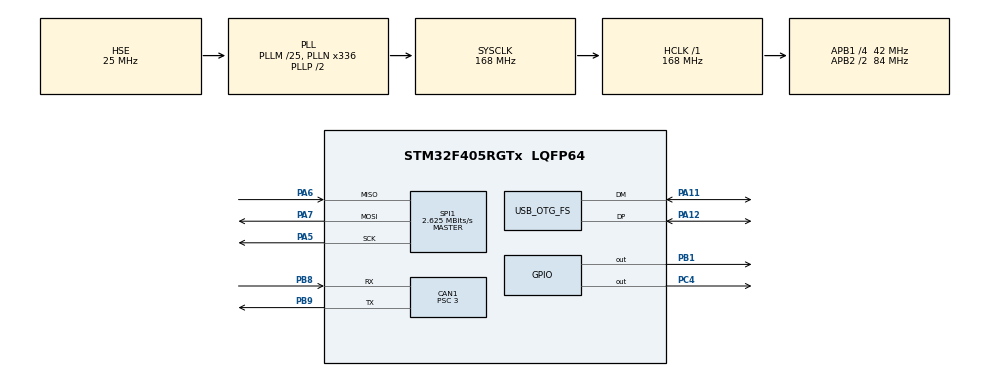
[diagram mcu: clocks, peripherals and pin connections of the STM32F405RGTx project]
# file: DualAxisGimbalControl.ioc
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CAN1.BS1=CAN_BS1_9TQ
CAN1.BS2=CAN_BS2_4TQ
CAN1.CalculateBaudRate=1000000
CAN1.CalculateTimeBit=1000
CAN1.CalculateTimeQuantum=71.42857142857143
CAN1.Prescaler=3
FREERTOS.Tasks01=Task_Gyro,40,256,StartTask_Gyro,Default,NULL,Dynamic,NULL,NULL;Task_Control,32,256,StartTask_Control,Default,NULL,Dynamic,NULL,NULL;Task_USB_Receiv,24,256,StartTask_USB_Receive,Default,NULL,Dynamic,NULL,NULL;Task_Search,8,256,StartTask_Search,Default,NULL,Dynamic,NULL,NULL
Mcu.Family=STM32F4
Mcu.Name=STM32F405RGTx
Mcu.Package=LQFP64
NVIC.CAN1_RX0_IRQn=true\:5\:0\:false\:false\:true\:true\:true\:true\:true
NVIC.OTG_FS_IRQn=true\:5\:0\:false\:false\:true\:true\:false\:true\:true
NVIC.PriorityGroup=NVIC_PRIORITYGROUP_4
NVIC.TIM2_IRQn=true\:5\:0\:false\:false\:true\:true\:true\:true\:true
PA11.Mode=Device_Only
PA11.Signal=USB_OTG_FS_DM
PA12.Mode=Device_Only
PA12.Signal=USB_OTG_FS_DP
PA13.Mode=Serial_Wire
PA13.Signal=SYS_JTMS-SWDIO
PA14.Mode=Serial_Wire
PA14.Signal=SYS_JTCK-SWCLK
PA5.Mode=Full_Duplex_Master
PA5.Signal=SPI1_SCK
PA6.Mode=Full_Duplex_Master
PA6.Signal=SPI1_MISO
PA7.Mode=Full_Duplex_Master
PA7.Signal=SPI1_MOSI
PB1.Signal=GPIO_Output
PB8.Mode=CAN_Activate
PB8.Signal=CAN1_RX
PB9.Mode=CAN_Activate
PB9.Signal=CAN1_TX
PC4.Signal=GPIO_Output
PH0-OSC_IN.Mode=HSE-External-Oscillator
PH0-OSC_IN.Signal=RCC_OSC_IN
PH1-OSC_OUT.Mode=HSE-External-Oscillator
PH1-OSC_OUT.Signal=RCC_OSC_OUT
ProjectManager.HeapSize=0x200
ProjectManager.StackSize=0x400
ProjectManager.TargetToolchain=CMake
RCC.48MHZClocksFreq_Value=48000000
RCC.AHBFreq_Value=168000000
RCC.APB1CLKDivider=RCC_HCLK_DIV4
RCC.APB1Freq_Value=42000000
RCC.APB1TimFreq_Value=84000000
RCC.APB2CLKDivider=RCC_HCLK_DIV2
RCC.APB2Freq_Value=84000000
RCC.APB2TimFreq_Value=168000000
RCC.CortexFreq_Value=168000000
RCC.HCLKFreq_Value=168000000
RCC.HSE_VALUE=25000000
RCC.HSI_VALUE=16000000
RCC.LSE_VALUE=32768
RCC.PLLM=25
RCC.PLLN=336
RCC.PLLQ=7
RCC.SYSCLKFreq_VALUE=168000000
RCC.SYSCLKSource=RCC_SYSCLKSOURCE_PLLCLK
RCC.VCOOutputFreq_Value=336000000
SPI1.BaudRatePrescaler=SPI_BAUDRATEPRESCALER_32
SPI1.CalculateBaudRate=2.625 MBits/s
SPI1.Direction=SPI_DIRECTION_2LINES
SPI1.Mode=SPI_MODE_MASTER
SPI1.VirtualType=VM_MASTER
TIM2.Prescaler=168-1
USB_DEVICE.CLASS_NAME_FS=CDC
USB_DEVICE.VirtualMode-CDC_FS=Cdc
USB_DEVICE.VirtualModeFS=Cdc_FS
USB_OTG_FS.VirtualMode=Device_Only
VP_FREERTOS_VS_CMSIS_V2.Mode=CMSIS_V2
VP_TIM2_VS_ClockSourceINT.Mode=Internal
VP_USB_DEVICE_VS_USB_DEVICE_CDC_FS.Mode=CDC_FS
board=custom

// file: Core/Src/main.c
/* USER CODE BEGIN Header */
/**
  ******************************************************************************
  * @file           : main.c
  * @brief          : Main program body
  ******************************************************************************
  * @attention
  *
  * Copyright (c) 2026 STMicroelectronics.
  * All rights reserved.
  *
  * This software is licensed under terms that can be found in the LICENSE file
  * in the root directory of this software component.
  * If no LICENSE file comes with this software, it is provided AS-IS.
  *
  ******************************************************************************
  */
/* USER CODE END Header */
#include "main.h"
#include "cmsis_os.h"
#include "can.h"
#include "spi.h"
#include "tim.h"
#include "usb_device.h"
#include "gpio.h"

/* USER CODE BEGIN Includes */
#include "bmi088.h"
#include "gm6020.h"
#include "pid.h"
#include "gimbal_ctrl.h"
#include "protocol.h"
/* USER CODE END Includes */

/* USER CODE BEGIN PV */
/* 全局变量定义 */
gimbal_mode_t gimbal_mode = GIMBAL_MODE_SEARCH;  // 默认搜索模式
vision_target_t vision_target = {0};
imu_data_t imu_data = {0};
motor_feedback_t yaw_feedback = {0};
motor_feedback_t pitch_feedback = {0};
uint8_t usb_tx_result = 10;

/* 任务间通信句柄 */
osSemaphoreId_t imu_semaphore;
osSemaphoreId_t control_semaphore;
osSemaphoreId_t usb_semaphore;
osMessageQueueId_t usb_queue;

/* USB接收缓冲区 */
uint8_t usb_rx_buffer[64];

/* 控制对象 */
gimbal_ctrl_t gimbal_ctrl;
/* USER CODE END PV */

void SystemClock_Config(void);
void MX_FREERTOS_Init(void);
/* USER CODE BEGIN PFP */
/* 任务函数声明 */
void Task_Gyro(void *argument);
void Task_Control(void *argument);
void Task_USB_Receive(void *argument);
void Task_Search(void *argument);

/* 外部函数声明 */
void USB_Data_Received(uint8_t* buf, uint32_t len);
/* USER CODE END PV */

/* Private function prototypes -----------------------------------------------*/
void SystemClock_Config(void);
void MX_FREERTOS_Init(void);
/* USER CODE BEGIN PFP */

/* USER CODE END PFP */

int main(void)
{

  /* MCU Configuration--------------------------------------------------------*/

  /* Reset of all peripherals, Initializes the Flash interface and the Systick. */
  HAL_Init();

  /* Configure the system clock */
  SystemClock_Config();

  /* Initialize all configured peripherals */
  MX_GPIO_Init();
  MX_CAN1_Init();
  MX_SPI1_Init();
  MX_TIM2_Init();
  /* USER CODE BEGIN 2 */
  HAL_TIM_Base_Start_IT(&htim2);
  /* init code for USB_DEVICE */
  MX_USB_DEVICE_Init();
  BMI088_Init();
  GM6020_Init();
  Gimbal_Init(&gimbal_ctrl);
  /* 创建任务间通信对象 */
  imu_semaphore = osSemaphoreNew(1, 0, NULL);
  control_semaphore = osSemaphoreNew(1, 0, NULL);
  usb_semaphore = osSemaphoreNew(1, 0, NULL);
  usb_queue = osMessageQueueNew(10, sizeof(vision_target_t), NULL);
  /* USER CODE END 2 */

  /* Init scheduler */
  osKernelInitialize();  /* Call init function for freertos objects (in cmsis_os2.c) */
  MX_FREERTOS_Init();

  /* Start scheduler */
  osKernelStart();

  /* We should never get here as control is now taken by the scheduler */

  /* Infinite loop */
  while (1)
  {

  }
}

void SystemClock_Config(void)
{
  RCC_OscInitTypeDef RCC_OscInitStruct = {0};
  RCC_ClkInitTypeDef RCC_ClkInitStruct = {0};

  /** Configure the main internal regulator output voltage
  */
  __HAL_RCC_PWR_CLK_ENABLE();
  __HAL_PWR_VOLTAGESCALING_CONFIG(PWR_REGULATOR_VOLTAGE_SCALE1);

  /** Initializes the RCC Oscillators according to the specified parameters
  * in the RCC_OscInitTypeDef structure.
  */
  RCC_OscInitStruct.OscillatorType = RCC_OSCILLATORTYPE_HSE;
  RCC_OscInitStruct.HSEState = RCC_HSE_ON;
  RCC_OscInitStruct.PLL.PLLState = RCC_PLL_ON;
  RCC_OscInitStruct.PLL.PLLSource = RCC_PLLSOURCE_HSE;
  RCC_OscInitStruct.PLL.PLLM = 25;
  RCC_OscInitStruct.PLL.PLLN = 336;
  RCC_OscInitStruct.PLL.PLLP = RCC_PLLP_DIV2;
  RCC_OscInitStruct.PLL.PLLQ = 7;
  if (HAL_RCC_OscConfig(&RCC_OscInitStruct) != HAL_OK)
  {
    Error_Handler();
  }

  /** Initializes the CPU, AHB and APB buses clocks
  */
  RCC_ClkInitStruct.ClockType = RCC_CLOCKTYPE_HCLK|RCC_CLOCKTYPE_SYSCLK
                              |RCC_CLOCKTYPE_PCLK1|RCC_CLOCKTYPE_PCLK2;
  RCC_ClkInitStruct.SYSCLKSource = RCC_SYSCLKSOURCE_PLLCLK;
  RCC_ClkInitStruct.AHBCLKDivider = RCC_SYSCLK_DIV1;
  RCC_ClkInitStruct.APB1CLKDivider = RCC_HCLK_DIV4;
  RCC_ClkInitStruct.APB2CLKDivider = RCC_HCLK_DIV2;

  if (HAL_RCC_ClockConfig(&RCC_ClkInitStruct, FLASH_LATENCY_5) != HAL_OK)
  {
    Error_Handler();
  }
}

void Error_Handler(void)
{
  __disable_irq();
  while (1)
  {
  }
}

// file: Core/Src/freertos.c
/* USER CODE BEGIN Header */
/**
  ******************************************************************************
  * File Name          : freertos.c
  * Description        : Code for freertos applications
  ******************************************************************************
  * @attention
  *
  * Copyright (c) 2026 STMicroelectronics.
  * All rights reserved.
  *
  * This software is licensed under terms that can be found in the LICENSE file
  * in the root directory of this software component.
  * If no LICENSE file comes with this software, it is provided AS-IS.
  *
  ******************************************************************************
  */
/* USER CODE END Header */

#include "FreeRTOS.h"
#include "task.h"
#include "main.h"
#include "cmsis_os.h"

/* USER CODE BEGIN Includes */
#include "bmi088.h"
#include "gm6020.h"
#include "pid.h"
#include "gimbal_ctrl.h"
#include "protocol.h"
#include "usbd_cdc_if.h"
/* USER CODE END Includes */

/* USER CODE BEGIN Variables */
/* 全局变量声明（来自main.h） */
extern gimbal_mode_t gimbal_mode;
extern vision_target_t vision_target;
extern imu_data_t imu_data;
extern motor_feedback_t yaw_feedback;
extern motor_feedback_t pitch_feedback;
extern uint8_t usb_tx_result;

/* 任务间通信句柄 */
extern osSemaphoreId_t imu_semaphore;
extern osSemaphoreId_t control_semaphore;
extern osSemaphoreId_t usb_semaphore;
extern osMessageQueueId_t usb_queue;

/* USB接收缓冲区 */
extern uint8_t usb_rx_buffer[64];

/* 控制对象 */
extern gimbal_ctrl_t gimbal_ctrl;
/* USER CODE END Variables */
/* Definitions for Task_Gyro */
osThreadId_t Task_GyroHandle;
const osThreadAttr_t Task_Gyro_attributes = {
  .name = "Task_Gyro",
  .stack_size = 256 * 4,
  .priority = (osPriority_t) osPriorityHigh,
};
/* Definitions for Task_Control */
osThreadId_t Task_ControlHandle;
const osThreadAttr_t Task_Control_attributes = {
  .name = "Task_Control",
  .stack_size = 256 * 4,
  .priority = (osPriority_t) osPriorityAboveNormal,
};
/* Definitions for Task_USB_Receiv */
osThreadId_t Task_USB_ReceivHandle;
const osThreadAttr_t Task_USB_Receiv_attributes = {
  .name = "Task_USB_Receiv",
  .stack_size = 256 * 4,
  .priority = (osPriority_t) osPriorityNormal,
};
/* Definitions for Task_Search */
osThreadId_t Task_SearchHandle;
const osThreadAttr_t Task_Search_attributes = {
  .name = "Task_Search",
  .stack_size = 256 * 4,
  .priority = (osPriority_t) osPriorityLow,
};

void StartTask_Gyro(void *argument);
void StartTask_Control(void *argument);
void StartTask_USB_Receive(void *argument);
void StartTask_Search(void *argument);

extern void MX_USB_DEVICE_Init(void);
void MX_FREERTOS_Init(void); /* (MISRA C 2004 rule 8.1) */

void MX_FREERTOS_Init(void) {

  /* Create the thread(s) */
  /* creation of Task_Gyro */
  Task_GyroHandle = osThreadNew(StartTask_Gyro, NULL, &Task_Gyro_attributes);

  /* creation of Task_Control */
  Task_ControlHandle = osThreadNew(StartTask_Control, NULL, &Task_Control_attributes);

  /* creation of Task_USB_Receiv */
  Task_USB_ReceivHandle = osThreadNew(StartTask_USB_Receive, NULL, &Task_USB_Receiv_attributes);

  /* creation of Task_Search */
  Task_SearchHandle = osThreadNew(StartTask_Search, NULL, &Task_Search_attributes);

}

void StartTask_Gyro(void *argument)
{
  /* USER CODE BEGIN StartTask_Gyro */
  TickType_t xLastWakeTime = xTaskGetTickCount();
  /* Infinite loop */
  for(;;)
  {
    /* 1kHz 读取陀螺仪 */
    BMI088_Read(&imu_data);

    /* 通知控制任务数据已更新 */
    osSemaphoreRelease(imu_semaphore);

    /* 精确的1kHz延时 */
    vTaskDelayUntil(&xLastWakeTime, pdMS_TO_TICKS(1));
  }
  /* USER CODE END StartTask_Gyro */
}

void StartTask_Control(void *argument)
{
  /* USER CODE BEGIN StartTask_Control */
  /* Infinite loop */
  for(;;)
  {
     /* 等待1kHz定时器信号 */
    osSemaphoreAcquire(control_semaphore, portMAX_DELAY);

    /* 等待陀螺仪数据（确保数据最新） */
    osSemaphoreAcquire(imu_semaphore, 0);  // 不等待，如果没有就继续

    /* 获取最新反馈 */
    GM6020_GetFeedback(&yaw_feedback, &pitch_feedback);

    /* 根据模式设置目标 */
    switch(gimbal_mode)
    {
      case GIMBAL_MODE_TRACKING:
        Gimbal_SetTarget(&gimbal_ctrl, vision_target.yaw, vision_target.pitch);
        break;

      case GIMBAL_MODE_SEARCH:
        /* 目标由搜索任务更新 */
        break;

      case GIMBAL_MODE_IDLE:
        Gimbal_SetTarget(&gimbal_ctrl, 0, 0);
        break;

      case GIMBAL_MODE_LOST:
        /* 保持当前位置 */
        break;
    }
    /* 执行控制算法：PID计算 + 发送电流指令 */
    Gimbal_Update(&gimbal_ctrl, &imu_data, &yaw_feedback, &pitch_feedback);
  }
  /* USER CODE END StartTask_Control */
}

void StartTask_USB_Receive(void *argument)
{
  /* USER CODE BEGIN StartTask_USB_Receive */
  vision_target_t target;
  static uint32_t last_target_time = 0;
  static uint32_t last_send_time = 0;
  TickType_t xLastWakeTime;

  xLastWakeTime = xTaskGetTickCount();
  /* Infinite loop */
  for(;;)
  {
  //    /* 等待USB数据信号 */
  //   osSemaphoreAcquire(usb_semaphore, portMAX_DELAY);

  //   /* 解析USB数据 */
  //   if(Protocol_Parse(usb_rx_buffer, 64, &target))
  //   {
  //     /* 有效数据，存入队列 */
  //     osMessageQueuePut(usb_queue, &target, 0, 0);

  //     /* 更新最新目标 */
  //     vision_target = target;
  //     last_target_time = HAL_GetTick();

  //     /* 切换到跟踪模式 */
  //     gimbal_mode = GIMBAL_MODE_TRACKING;

  //     GM6020_GetFeedback(&yaw_feedback, &pitch_feedback);
  //     uint8_t tx_buffer[11];
  //     Protocol_BuildTx(tx_buffer, &yaw_feedback, &pitch_feedback);
  //     usb_tx_result = CDC_Transmit_FS(tx_buffer, 11);
  //   }

  //   // if(Protocol_Parse(usb_rx_buffer, 64, &target))
  //   //     {
  //   //         /*  关键：根据置信度判断数据是否有效 */
  //   //         if(target.confidence >= 50)  // 置信度>=50%认为是有效数据
  //   //         {
  //   //             /* 有效数据：更新目标，切换到跟踪模式 */
  //   //             vision_target = target;
  //   //             last_valid_target_time = HAL_GetTick();
  //   //             lost_counter = 0;
  //   //             gimbal_mode = GIMBAL_MODE_TRACKING;
  //   //         }
  //   //         else
  //   //         {
  //   //             /*  无效数据（置信度低）：说明视觉丢失目标 */
  //   //             lost_counter++;

  //   //             /* 连续多次收到无效数据，才认为真正丢失（防抖） */
  //   //             if(lost_counter >= 3)
  //   //             {
  //   //                 gimbal_mode = GIMBAL_MODE_SEARCH;
  //   //                 // printf("Target lost! Switch to SEARCH mode\r\n");
  //   //             }
  //   //         }
  //   //     }

  //   /* 超时检测 - 500ms无数据则切搜索 */
  //   if(HAL_GetTick() - last_target_time > 500)  // VISION_TIMEOUT_MS
  //   {
  //     gimbal_mode = GIMBAL_MODE_SEARCH;
  //   }
  // }

  uint32_t now = HAL_GetTick();

      // ========== 1. 定时发送反馈给视觉（每10ms） ==========
      if(now - last_send_time >= 10) {
          last_send_time = now;

          // 获取当前电机角度
          GM6020_GetFeedback(&yaw_feedback, &pitch_feedback);

          // 打包并发送
          uint8_t tx_buffer[11];
          Protocol_BuildTx(tx_buffer, &yaw_feedback, &pitch_feedback);
          CDC_Transmit_FS(tx_buffer, 11);
      }

      // ========== 2. 接收视觉数据（非阻塞，等待10ms） ==========
      if(osSemaphoreAcquire(usb_semaphore, 10) == osOK) {
          // 解析USB数据
          if(Protocol_Parse(usb_rx_buffer, 64, &target))
          {
              /* 有效数据，存入队列 */
              osMessageQueuePut(usb_queue, &target, 0, 0);

              /* 更新最新目标 */
              vision_target = target;
              last_target_time = now;

              /* 切换到跟踪模式 */
              gimbal_mode = GIMBAL_MODE_TRACKING;
          }
      }

      // ========== 3. 超时检测（500ms无数据则切搜索） ==========
      if(now - last_target_time > 500)
      {
          gimbal_mode = GIMBAL_MODE_SEARCH;
      }

      // 精确延时，保证10ms周期
      vTaskDelayUntil(&xLastWakeTime, pdMS_TO_TICKS(10));
  }
  /* USER CODE END StartTask_USB_Receive */
}

void StartTask_Search(void *argument)
{
  /* USER CODE BEGIN StartTask_Search */
  static float scan_angle = 0;
  static int8_t direction = 1;
  uint32_t tick_count = 0;

  /* Infinite loop */
  for(;;)
  {
     /* 只在搜索模式下运行 */
    if(gimbal_mode == GIMBAL_MODE_SEARCH)
    {
      tick_count++;

      /* 每10ms更新一次扫描角度 (100Hz) */
      if(tick_count % 1 == 0)
      {
        scan_angle += direction * 30.0f / 100.0f;  // SEARCH_SPEED = 30

        /* 边界反转 */
        if(scan_angle > 180.0f)  // SEARCH_RANGE
        {
          scan_angle = 180.0f;
          direction = -1;
        }
        if(scan_angle < -180.0f)
        {
          scan_angle = -180.0f;
          direction = 1;
        }
     /* 点头动作: 每2秒改变俯仰 */
        if((tick_count / 100) % 4 < 2)
        {
          Gimbal_SetTarget(&gimbal_ctrl, scan_angle, 15.0f);  // SEARCH_PITCH
        }
        else
        {
          Gimbal_SetTarget(&gimbal_ctrl, scan_angle, -5.0f);
        }
      }
    }
    osDelay(10);  // 100Hz
  }
  /* USER CODE END StartTask_Search */
}
